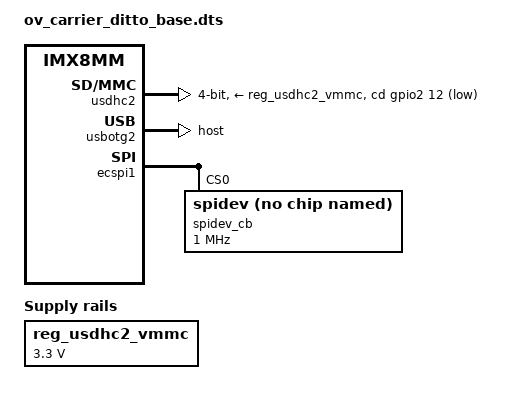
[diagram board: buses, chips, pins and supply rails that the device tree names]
/**
 * Portenta-X8 dtb overlay file
 * Arduino 2023
 * Ditto carrier base board, transforms Portenta-X8 into
 * a Nano Pi NEO2 drop-in replacement
 * Enable:
 * - USB1/USB2 (USB_FS, usbotg2) via USB2514B/M2 hub
 * - SDCARD (SDC, usdhc2)
 * - SPI0 (SPI1, ecspi1)
 * - I2C0 (I2C0, i2c2)
 * Unconfigured:
 * - I2S (I2S, sai5) use dedicated dtb overlay
 * - FAN use dedicated dtb overlay
 * - PA6 (GPIO0), PG11 (GPIO1), PA17 (GPIO2), PL11 (GPIO3) default input pulldown
 * Notes:
 * - Ethernet phy configured in u-boot
 * - USB2514B/M2 hub configured in u-boot
 * - UART2 is shell cmd
 * - EEPROM I2C1 address 0xAE readed in u-boot (auto carrier detection)
 */

/dts-v1/;
/plugin/;

#include "imx8mm-pinfunc.h"
#include <dt-bindings/clock/imx8mm-clock.h>
#include <dt-bindings/gpio/gpio.h>

/ {
	compatible = "fsl,imx8mm-evk", "fsl,imx8mm";

	fragment@0 {
		target = <&iomuxc>;
		__overlay__ {
			imx8mm {
				pinctrl_usdhc2_gpio: usdhc2grpgpio {
					fsl,pins = <
						MX8MM_IOMUXC_SD2_CD_B_GPIO2_IO12       0x1c4
					>;
				};

				pinctrl_usdhc2: usdhc2grp {
					fsl,pins = <
						MX8MM_IOMUXC_SD2_CLK_USDHC2_CLK        0x190
						MX8MM_IOMUXC_SD2_CMD_USDHC2_CMD        0x1d0
						MX8MM_IOMUXC_SD2_DATA0_USDHC2_DATA0    0x1d0
						MX8MM_IOMUXC_SD2_DATA1_USDHC2_DATA1    0x1d0
						MX8MM_IOMUXC_SD2_DATA2_USDHC2_DATA2    0x1d0
						MX8MM_IOMUXC_SD2_DATA3_USDHC2_DATA3    0x1d0
						MX8MM_IOMUXC_GPIO1_IO04_USDHC2_VSELECT 0x1d0
					>;
				};

				pinctrl_usdhc2_100mhz: usdhc2grp100mhz {
					fsl,pins = <
						MX8MM_IOMUXC_SD2_CLK_USDHC2_CLK        0x194
						MX8MM_IOMUXC_SD2_CMD_USDHC2_CMD        0x1d4
						MX8MM_IOMUXC_SD2_DATA0_USDHC2_DATA0    0x1d4
						MX8MM_IOMUXC_SD2_DATA1_USDHC2_DATA1    0x1d4
						MX8MM_IOMUXC_SD2_DATA2_USDHC2_DATA2    0x1d4
						MX8MM_IOMUXC_SD2_DATA3_USDHC2_DATA3    0x1d4
						MX8MM_IOMUXC_GPIO1_IO04_USDHC2_VSELECT 0x1d0
					>;
				};

				pinctrl_usdhc2_200mhz: usdhc2grp200mhz {
					fsl,pins = <
						MX8MM_IOMUXC_SD2_CLK_USDHC2_CLK        0x196
						MX8MM_IOMUXC_SD2_CMD_USDHC2_CMD        0x1d6
						MX8MM_IOMUXC_SD2_DATA0_USDHC2_DATA0    0x1d6
						MX8MM_IOMUXC_SD2_DATA1_USDHC2_DATA1    0x1d6
						MX8MM_IOMUXC_SD2_DATA2_USDHC2_DATA2    0x1d6
						MX8MM_IOMUXC_SD2_DATA3_USDHC2_DATA3    0x1d6
						MX8MM_IOMUXC_GPIO1_IO04_USDHC2_VSELECT 0x1d0
					>;
				};
			};
		};
	};

	fragment@1 {
		target-path = "/";
		__overlay__ {
			reg_usdhc2_vmmc: regulator-usdhc2 {
				compatible = "regulator-fixed";
				regulator-name = "VSD_3V3";
				regulator-min-microvolt = <3300000>;
				regulator-max-microvolt = <3300000>;
			};
		};
	};

	/* Enable SDC */
	fragment@2 {
		target = <&usdhc2>;
		__overlay__ {
			pinctrl-names = "default", "state_100mhz", "state_200mhz";
			pinctrl-0 = <&pinctrl_usdhc2>, <&pinctrl_usdhc2_gpio>;
			pinctrl-1 = <&pinctrl_usdhc2_100mhz>, <&pinctrl_usdhc2_gpio>;
			pinctrl-2 = <&pinctrl_usdhc2_200mhz>, <&pinctrl_usdhc2_gpio>;
			cd-gpios = <&gpio2 12 GPIO_ACTIVE_LOW>;
			bus-width = <4>;
			vmmc-supply = <&reg_usdhc2_vmmc>;
			status = "okay";
		};
	};

	/* Enable USB_FS port as host only */
	fragment@3 {
		target = <&usbotg2>;
		__overlay__ {
			dr_mode = "host";
			status = "okay";
		};
	};

	/* Enable SPI1 */
	fragment@4 {
		target = <&ecspi1>;
		__overlay__ {
			status = "okay";
			spidev_cb: spidev@0 {
				compatible = "rohm,dh2228fv";
				spi-max-frequency = <1000000>;
				reg = <0>;
			};
		};
	};
};
